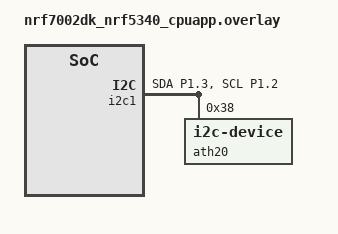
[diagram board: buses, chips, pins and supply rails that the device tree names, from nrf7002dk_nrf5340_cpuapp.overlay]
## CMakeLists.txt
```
cmake_minimum_required(VERSION 3.20.0)
find_package(Zephyr REQUIRED HINTS $ENV{ZEPHYR_BASE})

project(nrf7002_aht20)

target_sources(app 
    PRIVATE 
        src/main.c
        src/i2c_controller.c
        src/aht20_controller.c
)

# Inclusion du répertoire contenant le fichier d'en-tête
target_include_directories(app PRIVATE include)
```

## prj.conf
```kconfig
#
# Copyright (c) 2016 Intel Corporation
#
# SPDX-License-Identifier: Apache-2.0
#

# Enable the I2C driver
CONFIG_I2C=y

# Enable floating point format specifiers
CONFIG_CBPRINTF_FP_SUPPORT=y

CONFIG_DEBUG=y
CONFIG_DEBUG_OPTIMIZATIONS=y
CONFIG_DEBUG_THREAD_INFO=y
```

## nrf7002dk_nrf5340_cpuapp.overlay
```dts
&i2c1 {
    ath20: ath20@38{
        compatible = "i2c-device";
        status = "okay";
        reg = < 0x38 >;
    };
};
/*&i2c1 {
    rtc: rtc@68{
        compatible = "i2c-device";
        status = "okay";
        reg = < 0x68 >;
    };
};*/
&i2c1 {
	status = "okay";
	compatible = "nordic,nrf-twim";
	label = "I2C_1";
	pinctrl-0 = <&i2c1_default>;
	pinctrl-1 = <&i2c1_sleep>;
	pinctrl-names = "default", "sleep"; 
};

&pinctrl {
	i2c1_default: i2c1_default {
		group1 {
			psels = <NRF_PSEL(TWIM_SDA, 1, 3)>,
				<NRF_PSEL(TWIM_SCL, 1, 2)>;
		};
	};

	i2c1_sleep: i2c1_sleep {
		group1 {
			psels = <NRF_PSEL(TWIM_SDA, 1, 3)>,
				<NRF_PSEL(TWIM_SCL, 1, 2)>;
			low-power-enable;
		};
	};
};
```

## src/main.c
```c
/**
 * @file main.c
 *
 * @brief Projet de capteur AHT20 utilisant Zephyr RTOS et le SDK Nordic Semiconductor
 *
 * Ce projet utilise Zephyr RTOS et le SDK Nordic Semiconductor pour interagir
 * avec le capteur AHT20 via une communication I2C. Le capteur mesure l'humidité
 * relative et la température et affiche ces données. Le projet est destiné à une
 * utilisation sur la carte nRF7002DK équipée d'un nRF5340 SoC.
 *
 * Auteur : Yvan Tankeu
 *
 * Date de création : 02-11-2023
 */

#include <zephyr/kernel.h>
#include <zephyr/device.h>
#include <zephyr/devicetree.h>
#include <zephyr/sys/printk.h>
#include <zephyr/drivers/i2c.h>
#include "aht20_controller.h"
#include "i2c_controller.h"

#define I2C1_AHT20_NODE DT_NODELABEL(ath20)

const struct i2c_dt_spec dev_i2c = I2C_DT_SPEC_GET(I2C1_AHT20_NODE);

int main(void)
{
        int ret;
        float humidity, temperature;

        ret = init_i2c_device(&dev_i2c);
        if (ret != 0)
        {
                printk("I2C initialization failed!\n");
        }
        printk("I2C initialization successful!\n");

        while (1)
        {
                // Effectuez la calibration (si nécessaire)
                ret = perform_calibration(&dev_i2c);
                if (ret != 0)
                {
                        printk("Calibration failed\n");
                        continue; // Essayez à nouveau ou gérez l'erreur
                }

                // Déclenchez une mesure
                ret = trigger_measurement(&dev_i2c);
                if (ret != 0)
                {
                        printk("Failed to trigger measurement\n");
                        continue; // Essayez à nouveau ou gérez l'erreur
                }

                // Attendez un certain temps pour que la mesure soit terminée
                k_sleep(K_MSEC(WAIT_TIME_COLLECT_DATA_MS));

                // Lisez les données du capteur
                read_sensor_data(&dev_i2c, &humidity, &temperature);

                // Affichez les données
                printk("Relative Humidity: %.2f %%RH\n", humidity);
                printk("Temperature: %.2f °C\n", temperature);

                // Attendez un certain temps avant la prochaine mesure
                k_sleep(K_MSEC(INTERVAL_BETWEEN_MEASUREMENTS));
        }
        return 0;
}
```

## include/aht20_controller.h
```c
/**
 * @file aht20_controller.h
 * @brief Définitions et déclarations pour le contrôleur AHT20.
 *
 * Ce fichier contient les déclarations de fonctions, les constantes et les structures de données
 * utilisées pour interagir avec le capteur AHT20 via le bus I2C.
 */

#ifndef AHT20_CONTROLLER_H
#define AHT20_CONTROLLER_H

// Bits d'état
#define AHT20_STATUS_BUSY_BIT 0x80       // Bit [7] : Indication d'occupation
#define AHT20_STATUS_CALIBRATED_BIT 0x08 // Bit [3] : Indication d'étalonnage

// Commandes
#define AHT20_CONFIG_0 0x00                // Configuration du capteur à 0
#define AHT20_SOFT_RESET_BYTE 0xBA         // Effectuer un "soft reset" du capteur AHT20
#define AHT20_INIT_CMD 0xBE                // Initialisation du capteur AHT20
#define AHT20_CALIBRATE_CMD 0xE1           // Calibration command
#define AHT20_TRIGGER_MEASUREMENT_CMD 0xAC // Déclencher une mesure sur le capteur AHT20
#define AHT20_STATUS_BUSY_CMD 0x71         // Demande du mot d'octet de calibration

// Temps d'attente
#define WAIT_TIME_COLLECT_DATA_MS 75
#define WAIT_TIME_AFTER_POWER_ON 40
#define WAIT_TIME_AFTER_SOFT_RESET 20
#define WAIT_TIME_IF_BUSY 10
#define INTERVAL_BETWEEN_MEASUREMENTS 5000

/**
 * @brief Effectue une réinitialisation du capteur AHT20 via le bus I2C.
 *
 * Cette fonction envoie une commande de réinitialisation au capteur AHT20
 * pour le réinitialiser.
 *
 * @param dev_i2c Spécification I2C de devicetree.
 */
void perform_soft_reset(const struct i2c_dt_spec *dev_i2c);

/**
 * @brief Effectue la calibration du capteur AHT20 via le bus I2C.
 *
 * Cette fonction déclenche la calibration du capteur AHT20 en envoyant les commandes appropriées via le bus I2C.
 *
 * @param dev_i2c Spécification I2C de devicetree.
 *
 * @return 0 en cas de succès, -1 en cas d'erreur.
 */
int perform_calibration(const struct i2c_dt_spec *dev_i2c);

/**
 * @brief Attend que le capteur AHT20 soit actif en vérifiant son statut via le bus I2C.
 *
 * Cette fonction surveille le statut du capteur AHT20 en vérifiant régulièrement le bit d'occupation
 * sur le bus I2C jusqu'à ce que le capteur soit actif.
 *
 * @param dev_i2c Spécification I2C de devicetree.
 * @param status_reg Le registre de statut du capteur AHT20 à vérifier.
 */
void wait_for_idle(const struct i2c_dt_spec *dev_i2c, uint8_t status_reg);

/**
 * @brief Déclenche une mesure du capteur AHT20 via le bus I2C.
 *
 * Cette fonction envoie une commande pour déclencher une mesure du capteur AHT20 via le bus I2C.
 *
 * @param dev_i2c Spécification I2C de devicetree.
 *
 * @return 0 en cas de succès, -1 en cas d'erreur.
 */
int trigger_measurement(const struct i2c_dt_spec *dev_i2c);

/**
 * @brief Lit les données du capteur AHT20 via le bus I2C et les convertit en humidité et température.
 *
 * Cette fonction lit les données du capteur AHT20 via le bus I2C, les convertit en humidité et température
 * et les renvoie sous forme de valeurs flottantes.
 *
 * @param dev_i2c Spécification I2C de devicetree.
 * @param humidity Pointeur vers la variable où stocker l'humidité.
 * @param temperature Pointeur vers la variable où stocker la température.
 */
void read_sensor_data(const struct i2c_dt_spec *dev_i2c, float *humidity, float *temperature);

#endif // AHT20_CONTROLLER_H
```

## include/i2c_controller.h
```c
/**
 * @file i2c_controller.h
 * @brief Définitions et déclarations pour le contrôleur I2C.
 *
 * Ce fichier contient les déclarations de fonctions et les constantes
 * utilisées pour l'initialisation et la communication avec les périphériques
 * I2C sur le microcontrôleur.
 */

#ifndef I2C_CONTROLLER_H
#define I2C_CONTROLLER_H

#include <zephyr/drivers/i2c.h> 

/**
 * @brief Initialise un dispositif I2C.
 *
 * Cette fonction vérifie la disponibilité du dispositif I2C spécifié dans le devicetree
 * et l'état de préparation du bus I2C.
 *
 * @param dev_i2c Spécification I2C de devicetree.
 *
 * @return 0 en cas de succès, -1 en cas d'erreur.
 */
int init_i2c_device(const struct i2c_dt_spec *dev_i2c);

/**
 *@brief Écrivez une quantité définie de données sur un périphérique I2C.
 *
 *@param spec Spécification I2C de devicetree.
 *@param data Pool de mémoire à partir duquel les données sont transférées.
 *@param len Nombre d'octets à écrire.
 *
 *@return 0 en cas de succès, -1 en cas d'erreur.
 */
int i2c_write_m(const struct i2c_dt_spec *dev_i2c, uint8_t *data, size_t len);

/**
 *@brief Lit une quantité définie de données à partir d'un appareil I2C.
 *
 *@param dev_i2c Spécification I2C de Devicetree.
 *@param data Pool de mémoire qui stocke les données récupérées.
 *@param len Nombre d'octets à lire.
 *
 * @return 0 en cas de succès, -1 en cas d'erreur.
 */
int i2c_read_m(const struct i2c_dt_spec *dev_i2c, uint8_t *data, size_t len);


#endif // I2C_CONTROLLER_H
```

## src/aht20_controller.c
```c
#include <zephyr/kernel.h>
#include <zephyr/device.h>
#include <zephyr/drivers/i2c.h>
#include "aht20_controller.h"
#include "i2c_controller.h"

void perform_soft_reset(const struct i2c_dt_spec *dev_i2c)
{
    uint8_t cmd = AHT20_SOFT_RESET_BYTE;
    if (i2c_write_dt(dev_i2c, cmd, sizeof(cmd)) != 0)
    {
        printk("Failed to perform soft reset\n");
    }
    k_sleep(K_MSEC(WAIT_TIME_AFTER_SOFT_RESET));
}

void wait_for_idle(const struct i2c_dt_spec *dev_i2c, uint8_t status_reg)
{
    uint8_t data;
    while (1) {
        int ret = i2c_read_m(dev_i2c, &data, sizeof(data));

        if (ret != 0) {
            printk("Failed to read sensor status\n");
            return; // Gérer l'erreur ici, si nécessaire
        }

        if (!(data & status_reg)) {
            // Le bit d'occupation n'est plus défini, le capteur est inactif
            break;
        }

        k_sleep(K_MSEC(WAIT_TIME_IF_BUSY));
    }
}

int perform_calibration(const struct i2c_dt_spec *dev_i2c) {
    uint8_t data, cmd[3];
    int ret;

    // Calibration
    cmd[0] = AHT20_CALIBRATE_CMD;
    cmd[1] = AHT20_STATUS_CALIBRATED_BIT;
    cmd[2] = AHT20_CONFIG_0;

    ret = i2c_write_m(dev_i2c, cmd, sizeof(cmd));
    if (ret != 0) {
        printk("Failed to perform calibration\n");
        return -1; // Échec de la calibration
    }

    wait_for_idle(dev_i2c, AHT20_STATUS_BUSY_BIT);

    ret = i2c_read_m(dev_i2c, &data, sizeof(data));
    while (data & AHT20_STATUS_BUSY_BIT)
    {
        k_sleep(K_MSEC(WAIT_TIME_IF_BUSY));
    }

    printk("Data apres calibrage = %d\n", data);
    if (!(data & AHT20_STATUS_CALIBRATED_BIT))
    {
        printk("Non calibre");
    }
    return 0; // Calibration réussie
}

int trigger_measurement(const struct i2c_dt_spec *dev_i2c) {
    uint8_t cmd[3] = {AHT20_TRIGGER_MEASUREMENT_CMD, 0x33, 0};
    int ret = i2c_write_m(dev_i2c, cmd, sizeof(cmd));
    if (ret != 0) {
        printk("Failed to trigger measurement\n");
    }

    wait_for_idle(dev_i2c, AHT20_STATUS_BUSY_BIT);

    return ret;
}

void read_sensor_data(const struct i2c_dt_spec *dev_i2c, float *humidity, float *temperature)
{
    uint8_t hdata[6];
    int ret;

    // Effectuez la lecture des données du capteur AHT20
    ret = i2c_read_m(dev_i2c, hdata, sizeof(hdata));

    if (ret != 0)
    {
        printk("Failed to read data from AHT20 sensor\n");
        return; // Gérer l'erreur ici, si nécessaire
    }

    // Traitez les données lues pour extraire l'humidité et la température
    uint32_t h = hdata[1];
    h <<= 8;
    h |= hdata[2];
    h <<= 4;
    h |= hdata[3] >> 4;
    *humidity = ((float)h * 100) / 0x100000;

    uint32_t tdata = hdata[3] & 0x0F;
    tdata <<= 8;
    tdata |= hdata[4];
    tdata <<= 8;
    tdata |= hdata[5];
    *temperature = ((float)tdata * 200 / 0x100000) - 50;
}
```

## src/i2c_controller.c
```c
#include <zephyr/devicetree.h>
#include <zephyr/drivers/i2c.h>

int init_i2c_device(const struct i2c_dt_spec *dev_i2c) {
     // Vérifier si le dispositif I2C est disponible
    if (dev_i2c == NULL) {
        printk("I2C device not found!\n");
        return -1;
    }

    if (!device_is_ready(dev_i2c->bus)) {
        printk("I2C bus %s is not ready!\n", dev_i2c->bus->name);
        return -1;
    }
    return 0;
}

int i2c_write_m(const struct i2c_dt_spec *dev_i2c, const uint8_t *data, size_t len)
{
    // Écrire des données sur le bus I2C
    if (i2c_write_dt(dev_i2c, data, len) != 0)
    {
        printk("I2C write failed\n");
        return -1;
    }
    return 0; 
}

int i2c_read_m(const struct i2c_dt_spec *dev_i2c, uint8_t *data, size_t len)
{
    // Lire des données depuis le bus I2C
    int ret = i2c_read_dt(dev_i2c, data, len);
    if (ret != 0)
    {
        printk("I2C read failed\n");
        return -1;
    }
    return 0; 
}
```
